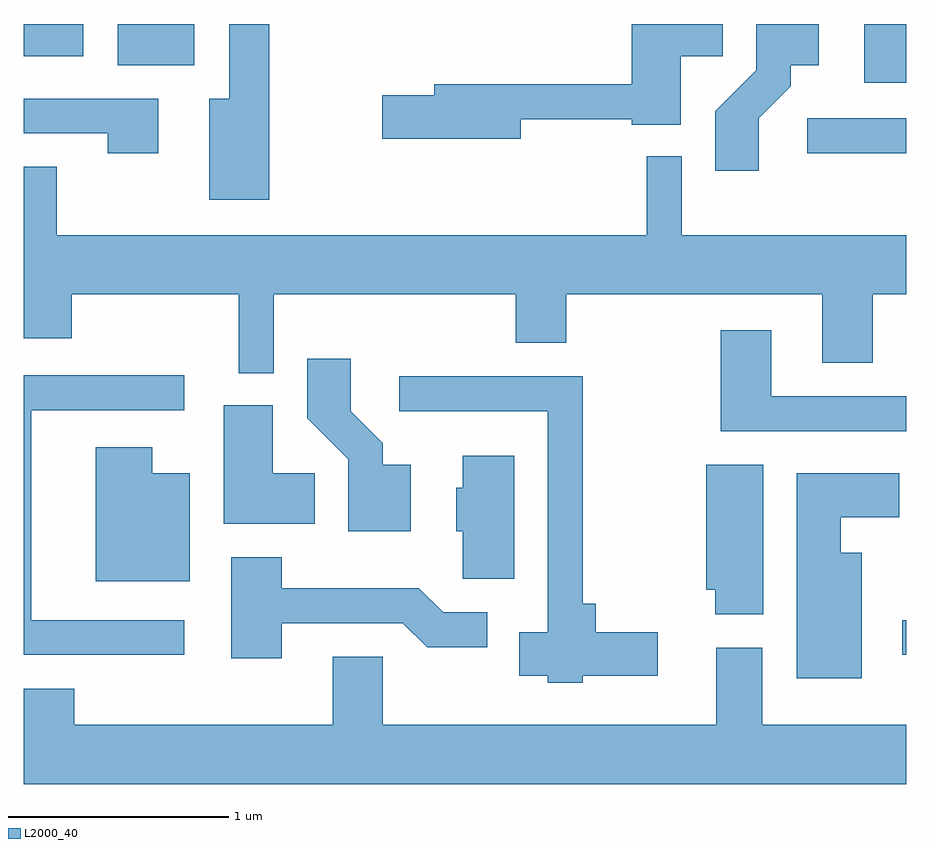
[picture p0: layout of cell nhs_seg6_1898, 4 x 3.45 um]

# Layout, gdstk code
import gdstk
lib = gdstk.Library(unit=1e-6, precision=1e-09)
def R(c, l, rs):  # rectangles x0, y0, x1, y1
    for r in rs: c.add(gdstk.rectangle(r[:2], r[2:], *l))
def P(c, l, *ps):  # polygons
    for p in ps: c.add(gdstk.Polygon(p, *l))
L2000_40 = (2000, 40)

nhs_seg6_1898 = lib.new_cell('nhs_seg6_1898')
R(nhs_seg6_1898, L2000_40, [(247.593,1537.301,247.611,1537.459), (247.163,1539.576,247.611,1539.734), (247.421,1539.896,247.611,1540.162), (244.036,1539.976,244.384,1540.162), (243.611,1540.016,243.879,1540.162)])
P(nhs_seg6_1898, L2000_40, [(246.944,1539.734),(247.089,1539.879),(247.089,1539.976),(247.214,1539.976),(247.214,1540.162),(246.931,1540.162),(246.931,1539.952),(246.746,1539.767),(246.746,1539.496),(246.944,1539.496)],
  [(245.864,1539.731),(246.366,1539.731),(246.366,1539.706),(246.589,1539.706),(246.589,1540.016),(246.779,1540.016),(246.779,1540.162),(246.366,1540.162),(246.366,1539.889),(245.471,1539.889),(245.471,1539.839),(245.236,1539.839),(245.236,1539.641),(245.864,1539.641)],
  [(244.724,1540.162),(244.541,1540.162),(244.541,1539.824),(244.451,1539.824),(244.451,1539.366),(244.724,1539.366)],
  [(244.219,1539.824),(243.611,1539.824),(243.611,1539.666),(243.991,1539.666),(243.991,1539.576),(244.219,1539.576)],
  [(244.744,1538.936),(245.841,1538.936),(245.841,1538.716),(246.069,1538.716),(246.069,1538.936),(247.231,1538.936),(247.231,1538.626),(247.459,1538.626),(247.459,1538.936),(247.611,1538.936),(247.611,1539.204),(246.594,1539.204),(246.594,1539.563),(246.436,1539.563),(246.436,1539.204),(243.759,1539.204),(243.759,1539.514),(243.611,1539.514),(243.611,1538.736),(243.829,1538.736),(243.829,1538.936),(244.586,1538.936),(244.586,1538.578),(244.744,1538.578)],
  [(247.611,1538.474),(246.999,1538.474),(246.999,1538.774),(246.771,1538.774),(246.771,1538.316),(247.611,1538.316)],
  [(245.364,1538.164),(245.239,1538.164),(245.239,1538.262),(245.094,1538.407),(245.094,1538.644),(244.896,1538.644),(244.896,1538.374),(245.081,1538.189),(245.081,1537.861),(245.364,1537.861)],
  [(244.338,1537.459),(243.644,1537.459),(243.644,1538.411),(244.338,1538.411),(244.338,1538.569),(243.611,1538.569),(243.611,1537.301),(244.338,1537.301)],
  [(246.144,1537.206),(246.484,1537.206),(246.484,1537.404),(246.204,1537.404),(246.204,1537.534),(246.144,1537.534),(246.144,1538.564),(245.313,1538.564),(245.313,1538.406),(245.986,1538.406),(245.986,1537.404),(245.856,1537.404),(245.856,1537.206),(245.986,1537.206),(245.986,1537.176),(246.144,1537.176)],
  [(244.929,1538.124),(244.739,1538.124),(244.739,1538.434),(244.516,1538.434),(244.516,1537.896),(244.929,1537.896)],
  [(244.364,1538.124),(244.194,1538.124),(244.194,1538.244),(243.936,1538.244),(243.936,1537.636),(244.364,1537.636)],
  [(245.834,1538.204),(245.601,1538.204),(245.601,1538.059),(245.571,1538.059),(245.571,1537.861),(245.601,1537.861),(245.601,1537.646),(245.834,1537.646)],
  [(246.964,1538.164),(246.706,1538.164),(246.706,1537.596),(246.746,1537.596),(246.746,1537.486),(246.964,1537.486)],
  [(247.409,1537.764),(247.314,1537.764),(247.314,1537.926),(247.579,1537.926),(247.579,1538.124),(247.116,1538.124),(247.116,1537.196),(247.409,1537.196)],
  [(244.779,1537.446),(245.329,1537.446),(245.439,1537.336),(245.713,1537.336),(245.713,1537.494),(245.512,1537.494),(245.402,1537.604),(244.779,1537.604),(244.779,1537.744),(244.551,1537.744),(244.551,1537.286),(244.779,1537.286)],
  [(247.611,1536.984),(246.959,1536.984),(246.959,1537.334),(246.751,1537.334),(246.751,1536.984),(245.239,1536.984),(245.239,1537.294),(245.011,1537.294),(245.011,1536.984),(243.839,1536.984),(243.839,1537.149),(243.611,1537.149),(243.611,1536.716),(247.611,1536.716)])

lib.write_gds('nhs_seg6_1898.gds')
